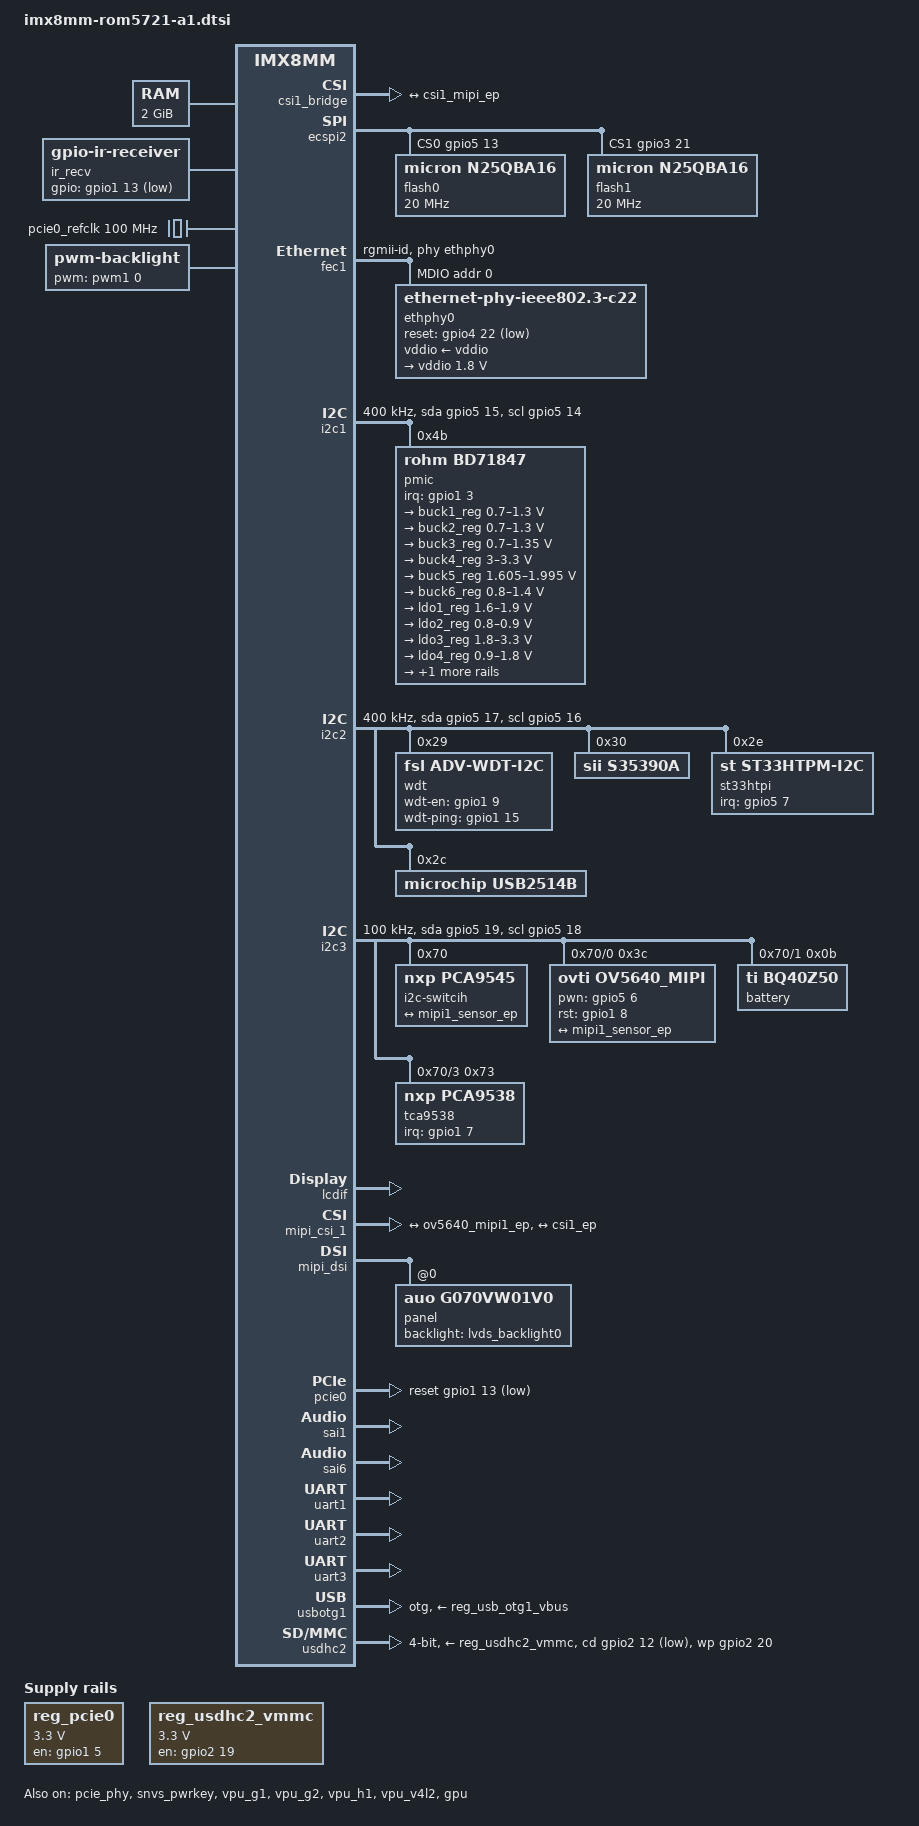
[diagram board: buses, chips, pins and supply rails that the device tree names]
// SPDX-License-Identifier: (GPL-2.0+ OR MIT)
/*
 * Copyright 2020 NXP
 */

/dts-v1/;

#include <dt-bindings/phy/phy-imx8-pcie.h>
#include <dt-bindings/usb/pd.h>
#include "imx8mm.dtsi"

/ {
	chosen {
		stdout-path = &uart2;
	};

	memory@40000000 {
		device_type = "memory";
		reg = <0x0 0x40000000 0 0x80000000>;
	};

	ir_recv: ir-receiver {
		compatible = "gpio-ir-receiver";
		gpios = <&gpio1 13 GPIO_ACTIVE_LOW>;
		pinctrl-names = "default";
		pinctrl-0 = <&pinctrl_ir_recv>;
		linux,autosuspend-period = <125>;
	};

	pcie0_refclk: pcie0-refclk {
		compatible = "fixed-clock";
		#clock-cells = <0>;
		clock-frequency = <100000000>;
	};

	reg_pcie0: regulator-pcie {
		compatible = "regulator-fixed";
		pinctrl-names = "default";
		pinctrl-0 = <&pinctrl_pcie0_reg>;
		regulator-name = "MPCIE_3V3";
		regulator-min-microvolt = <3300000>;
		regulator-max-microvolt = <3300000>;
		gpio = <&gpio1 5 GPIO_ACTIVE_HIGH>;
		enable-active-high;
	};

	reg_usdhc2_vmmc: regulator-usdhc2 {
		compatible = "regulator-fixed";
		pinctrl-names = "default";
		pinctrl-0 = <&pinctrl_reg_usdhc2_vmmc>;
		regulator-name = "VSD_3V3";
		regulator-min-microvolt = <3300000>;
		regulator-max-microvolt = <3300000>;
		gpio = <&gpio2 19 GPIO_ACTIVE_HIGH>;
		off-on-delay-us = <20000>;
		enable-active-high;
	};

	backlight: backlight {
		compatible = "pwm-backlight";
		pwms = <&pwm1 0 5000000 0>;
		brightness-levels = <0 255>;
		num-interpolated-steps = <255>;
		default-brightness-level = <250>;
	};
};

&A53_0 {
	cpu-supply = <&buck2_reg>;
};

&A53_1 {
	cpu-supply = <&buck2_reg>;
};

&A53_2 {
	cpu-supply = <&buck2_reg>;
};

&A53_3 {
	cpu-supply = <&buck2_reg>;
};

&csi1_bridge {
	fsl,mipi-mode;
	status = "okay";
	port {
		csi1_ep: endpoint {
			remote-endpoint = <&csi1_mipi_ep>;
		};
	};
};

&ecspi2 {
        cs-gpios = <&gpio5 13 0>, <&gpio3 21 0>;
        pinctrl-names = "default";
        pinctrl-0 = <&pinctrl_ecspi2>;
        status = "okay";

        flash0: m25p80@0 {
                #address-cells = <1>;
                #size-cells = <0>;
                compatible = "micron,n25qba16";
                spi-max-frequency = <20000000>;
                reg = <0>;
        };
        flash1: m25p80@1 {
                #address-cells = <1>;
                #size-cells = <0>;
                compatible = "micron,n25qba16";
                spi-max-frequency = <20000000>;
                reg = <1>;
        };
};

&fec1 {
	pinctrl-names = "default";
	pinctrl-0 = <&pinctrl_fec1>;
	phy-mode = "rgmii-id";
	phy-handle = <&ethphy0>;
	fsl,magic-packet;
	status = "okay";

	mdio {
		#address-cells = <1>;
		#size-cells = <0>;

		ethphy0: ethernet-phy@0 {
			compatible = "ethernet-phy-ieee802.3-c22";
			reg = <0>;
			reset-gpios = <&gpio4 22 GPIO_ACTIVE_LOW>;
			reset-assert-us = <10000>;
			reset-deassert-us = <80000>;
			realtek,aldps-enable;
			realtek,clkout-disable;
			qca,disable-smarteee;
			vddio-supply = <&vddio>;

			vddio: vddio-regulator {
				regulator-min-microvolt = <1800000>;
				regulator-max-microvolt = <1800000>;
			};
		};
	};
};

&i2c1 {
	clock-frequency = <400000>;
	pinctrl-names = "default", "gpio";
	pinctrl-0 = <&pinctrl_i2c1>;
        pinctrl-1 = <&pinctrl_i2c1_gpio>;
        scl-gpios = <&gpio5 14 GPIO_ACTIVE_HIGH>;
        sda-gpios = <&gpio5 15 GPIO_ACTIVE_HIGH>;
	status = "okay";

	pmic@4b {
		compatible = "rohm,bd71847";
		reg = <0x4b>;
		pinctrl-0 = <&pinctrl_pmic>;
		interrupt-parent = <&gpio1>;
		interrupts = <3 GPIO_ACTIVE_LOW>;
		rohm,reset-snvs-powered;

		regulators {
			buck1_reg: BUCK1 {
				regulator-name = "BUCK1";
				regulator-min-microvolt = <700000>;
				regulator-max-microvolt = <1300000>;
				regulator-boot-on;
				regulator-always-on;
				regulator-ramp-delay = <1250>;
			};

			buck2_reg: BUCK2 {
				regulator-name = "BUCK2";
				regulator-min-microvolt = <700000>;
				regulator-max-microvolt = <1300000>;
				regulator-boot-on;
				regulator-always-on;
				regulator-ramp-delay = <1250>;
				rohm,dvs-run-voltage = <1000000>;
				rohm,dvs-idle-voltage = <900000>;
			};

			buck3_reg: BUCK3 {
				// BUCK5 in datasheet
				regulator-name = "BUCK3";
				regulator-min-microvolt = <700000>;
				regulator-max-microvolt = <1350000>;
				regulator-boot-on;
				regulator-always-on;
			};

			buck4_reg: BUCK4 {
				// BUCK6 in datasheet
				regulator-name = "BUCK4";
				regulator-min-microvolt = <3000000>;
				regulator-max-microvolt = <3300000>;
				regulator-boot-on;
				regulator-always-on;
			};

			buck5_reg: BUCK5 {
				// BUCK7 in datasheet
				regulator-name = "BUCK5";
				regulator-min-microvolt = <1605000>;
				regulator-max-microvolt = <1995000>;
				regulator-boot-on;
				regulator-always-on;
			};

			buck6_reg: BUCK6 {
				// BUCK8 in datasheet
				regulator-name = "BUCK6";
				regulator-min-microvolt = <800000>;
				regulator-max-microvolt = <1400000>;
				regulator-boot-on;
				regulator-always-on;
			};

			ldo1_reg: LDO1 {
				regulator-name = "LDO1";
				regulator-min-microvolt = <1600000>;
				regulator-max-microvolt = <1900000>;
				regulator-boot-on;
				regulator-always-on;
			};

			ldo2_reg: LDO2 {
				regulator-name = "LDO2";
				regulator-min-microvolt = <800000>;
				regulator-max-microvolt = <900000>;
				regulator-boot-on;
				regulator-always-on;
			};

			ldo3_reg: LDO3 {
				regulator-name = "LDO3";
				regulator-min-microvolt = <1800000>;
				regulator-max-microvolt = <3300000>;
				regulator-boot-on;
				regulator-always-on;
			};

			ldo4_reg: LDO4 {
				regulator-name = "LDO4";
				regulator-min-microvolt = <900000>;
				regulator-max-microvolt = <1800000>;
				regulator-boot-on;
				regulator-always-on;
			};

			ldo6_reg: LDO6 {
				regulator-name = "LDO6";
				regulator-min-microvolt = <900000>;
				regulator-max-microvolt = <1800000>;
				regulator-boot-on;
				regulator-always-on;
			};
		};
	};
};

&i2c2 {
	clock-frequency = <400000>;
	pinctrl-names = "default", "gpio";
	pinctrl-0 = <&pinctrl_i2c2>;
        pinctrl-1 = <&pinctrl_i2c2_gpio>;
        scl-gpios = <&gpio5 16 GPIO_ACTIVE_HIGH>;
        sda-gpios = <&gpio5 17 GPIO_ACTIVE_HIGH>;
	status = "okay";

	wdt@29 {
                compatible = "fsl,adv-wdt-i2c";
                pinctrl-names = "default";
                pinctrl-0 = <&pinctrl_wdt_en_1 &pinctrl_wdt_ping_1>;
                status = "okay";
                wdt-en = <&gpio1 9 0>;
                wdt-ping = <&gpio1 15 0>;
                reg = <0x29>;
        };
	s35390a: s35390a@30 {
		 compatible = "sii,s35390a";
		 reg = <0x30>;
		status = "okay";
	};
       st33htpi: st33htpi@2e{
                compatible = "st,st33htpm-i2c";
                reg= <0x2e>;
                pinctrl-names = "default";
                pinctrl-0 = <&pinctrl_tpm>;
                interrupt-parent = <&gpio5>;
                interrupts = <7 IRQ_TYPE_LEVEL_HIGH>;
        };

	usb2514b@2c {
                compatible = "microchip,usb2514b";
                reg = <0x2c>;
        };
};

&i2c3 {
	clock-frequency = <100000>;
	pinctrl-names = "default", "gpio";
	pinctrl-0 = <&pinctrl_i2c3>;
        pinctrl-1 = <&pinctrl_i2c3_gpio>;
        scl-gpios = <&gpio5 18 GPIO_ACTIVE_HIGH>;
        sda-gpios = <&gpio5 19 GPIO_ACTIVE_HIGH>;
	status = "okay";

        i2c-switcih@70 {
                #address-cells = <1>;
                #size-cells = <0>;
                compatible = "nxp,pca9545";
                reg = <0x70>;
		
                i2c@0 {
                        reg = <0>;
                        #address-cells = <1>;
                        #size-cells = <0>;
			ov5640_mipi: ov5640_mipi@3c {
				compatible = "ovti,ov5640_mipi";
				reg = <0x3c>;
				status = "okay";
				pinctrl-names = "default";
				pinctrl-0 = <&pinctrl_csi_clk>, <&pinctrl_csi1_pwn>, <&pinctrl_csi1_rst>;
				clocks = <&clk IMX8MM_CLK_CLKO1>;
				clock-names = "csi_mclk";
				assigned-clocks = <&clk IMX8MM_CLK_CLKO1>;
				assigned-clock-parents = <&clk IMX8MM_CLK_24M>;
				assigned-clock-rates = <24000000>;
				csi_id = <1>;
				pwn-gpios = <&gpio5 6 GPIO_ACTIVE_HIGH>;	/* GPIO1 or CAM1_PWR */
				rst-gpios = <&gpio1 8 GPIO_ACTIVE_HIGH>;	/* GPIO3 or CAM1_RST */
				mclk = <24000000>;
				mclk_source = <0>;
				port {
					ov5640_mipi1_ep: endpoint {
						remote-endpoint = <&mipi1_sensor_ep>;
					};
				};
			};
                };

                i2c@1 {
                        reg = <1>;
                        #address-cells = <1>;
                        #size-cells = <0>;
			battery: bq40z50@b {
				compatible = "ti,bq40z50";
				reg = <0x0b>;
				pinctrl-names = "default";
				pinctrl-0 = <&pinctrl_battery>;
			};

		};
                i2c@2 {
                        reg = <2>;
                        #address-cells = <1>;
                        #size-cells = <0>;
		};
                i2c@3 {
                        reg = <3>;
                        #address-cells = <1>;
                        #size-cells = <0>;
	
			tca9538: pca9538@73 {
				compatible = "nxp,pca9538";
				reg = <0x73>;
				pinctrl-names = "default";
				pinctrl-0 = <&pinctrl_i2c_switch>;
				#gpio-cells = <2>;
				gpio-controller;
				interrupt-controller;
				interrupt-parent = <&gpio1>;
				interrupts = <7 IRQ_TYPE_LEVEL_LOW>;
			};
		};

	};
};

&lcdif {
       status = "okay";
};

&mipi_csi_1 {
	#address-cells = <1>;
	#size-cells = <0>;
	status = "okay";
	port {
		mipi1_sensor_ep: endpoint@1 {
			remote-endpoint = <&ov5640_mipi1_ep>;
			data-lanes = <2>;
			csis-hs-settle = <13>;
			csis-clk-settle = <2>;
			csis-wclk;
		};

		csi1_mipi_ep: endpoint@2 {
			remote-endpoint = <&csi1_ep>;
		};
	};
};

&mipi_dsi {
       status = "okay";
       panel@0 {
                compatible = "auo,g070vw01v0";
                reg = <0>;
		backlight=<&lvds_backlight0>;
                panel-init-sequence = [
                        29 00 06 3C 01 03 00 02 00
                        29 00 06 14 01 02 00 00 00
                        29 00 06 64 01 00 00 00 00
                        29 00 06 68 01 00 00 00 00
                        29 00 06 6C 01 00 00 00 00
                        29 00 06 70 01 00 00 00 00
                        29 00 06 34 01 1F 00 00 00
                        29 00 06 10 02 1F 00 00 00
                        29 00 06 04 01 01 00 00 00
                        29 00 06 04 02 01 00 00 00
                        29 00 06 50 04 20 01 F0 03
                        29 00 06 54 04 06 00 32 00
                        29 00 06 58 04 20 03 C8 00
                        29 00 06 5C 04 04 00 04 00
                        29 00 06 60 04 E0 01 14 00
                        29 00 06 64 04 01 00 00 00
                        29 01 06 A0 04 2D 80 44 00
                        29 00 06 A0 04 2D 80 04 00
                        29 00 06 04 05 04 00 00 00
                        29 00 06 80 04 00 01 02 03
                        29 00 06 84 04 04 07 05 08
                        29 00 06 88 04 09 0A 0E 0F
                        29 00 06 8C 04 0B 0C 0D 10
                        29 00 06 90 04 16 17 11 12
                        29 00 06 94 04 13 14 15 1B
                        29 14 06 98 04 18 19 1A 06
                        29 78 06 9C 04 31 00 00 00
                ];
	};
};

&pcie_phy {
	fsl,refclk-pad-mode = <IMX8_PCIE_REFCLK_PAD_INPUT>;
	fsl,tx-deemph-gen1 = <0x2d>;
	fsl,tx-deemph-gen2 = <0xf>;
	clocks = <&pcie0_refclk>;
	status = "okay";
};

&pcie0{
	pinctrl-names = "default";
	pinctrl-0 = <&pinctrl_pcie0>;
	//disable-gpio = <&tca9538_2 0 GPIO_ACTIVE_LOW>; //W_DISABLE1
	reset-gpio = <&gpio1 13 GPIO_ACTIVE_LOW>;
	clocks = <&clk IMX8MM_CLK_PCIE1_ROOT>,
		 <&clk IMX8MM_CLK_PCIE1_AUX>,
		 <&clk IMX8MM_CLK_PCIE1_PHY>,
		 <&pcie0_refclk>;
	clock-names = "pcie", "pcie_aux", "pcie_phy", "pcie_bus";
	assigned-clocks = <&clk IMX8MM_CLK_PCIE1_AUX>,
			  <&clk IMX8MM_CLK_PCIE1_PHY>,
			  <&clk IMX8MM_CLK_PCIE1_CTRL>;
	assigned-clock-rates = <10000000>, <100000000>, <250000000>;
	assigned-clock-parents = <&clk IMX8MM_SYS_PLL2_50M>,
				 <&clk IMX8MM_SYS_PLL2_100M>,
				 <&clk IMX8MM_SYS_PLL2_250M>;
	ext_osc = <1>;
	status = "okay";
};

&sai1 {
        pinctrl-names = "default";
        pinctrl-0 = <&pinctrl_sai1>;
        assigned-clocks = <&clk IMX8MM_CLK_SAI1>;
        assigned-clock-parents = <&clk IMX8MM_AUDIO_PLL1_OUT>;
        assigned-clock-rates = <0>, <24576000>;
        status = "okay";
};

&sai6 {
	pinctrl-names = "default";
	pinctrl-0 = <&pinctrl_sai6>;
	assigned-clocks = <&clk IMX8MM_CLK_SAI6>;
	assigned-clock-parents = <&clk IMX8MM_AUDIO_PLL1_OUT>;
	assigned-clock-rates = <24576000>;
	status = "okay";
};

&snvs_pwrkey {
	status = "okay";
};

&uart1 {
	pinctrl-names = "default";
	pinctrl-0 = <&pinctrl_uart1>;
	fsl,uart-has-rtscts;
	status = "okay";
};

&uart2 { /* A53 console */
	pinctrl-names = "default";
	pinctrl-0 = <&pinctrl_uart2>;
	status = "okay";
};

&uart3 {
	pinctrl-names = "default";
	pinctrl-0 = <&pinctrl_uart3>;
	fsl,uart-has-rtscts;
	status = "okay";
};

&usbotg1 {
	pinctrl-names = "default";
        pinctrl-0 = <&pinctrl_usbotg>;
	dr_mode = "otg";
	extcon = <0>;
        vbus-supply = <&reg_usb_otg1_vbus>;
	samsung,picophy-pre-emp-curr-control = <3>;
	samsung,picophy-dc-vol-level-adjust = <7>;
	status = "okay";
};

&usdhc2 {
	assigned-clocks = <&clk IMX8MM_CLK_USDHC2>;
	assigned-clock-rates = <200000000>;
	pinctrl-names = "default", "state_100mhz", "state_200mhz";
	pinctrl-0 = <&pinctrl_usdhc2>, <&pinctrl_usdhc2_gpio>;
	pinctrl-1 = <&pinctrl_usdhc2_100mhz>, <&pinctrl_usdhc2_gpio>;
	pinctrl-2 = <&pinctrl_usdhc2_200mhz>, <&pinctrl_usdhc2_gpio>;
	cd-gpios = <&gpio2 12 GPIO_ACTIVE_LOW>;
	wp-gpios = <&gpio2 20 GPIO_ACTIVE_HIGH>;
	bus-width = <4>;
	vmmc-supply = <&reg_usdhc2_vmmc>;
	status = "okay";
};

&vpu_g1 {
	status = "okay";
};

&vpu_g2 {
	status = "okay";
};

&vpu_h1 {
	status = "okay";
};

&vpu_v4l2 {
	status = "okay";
};

&wdog1 {
	pinctrl-names = "default";
	pinctrl-0 = <&pinctrl_wdog>;
	fsl,ext-reset-output;
	status = "disabled";
};

&pwm1 {
	pinctrl-names = "default";
	pinctrl-0 = <&pinctrl_backlight>;
};

&gpu {
	status = "okay";
};

&iomuxc {
	pinctrl_ir_recv: ir-recv {
		fsl,pins = <
			MX8MM_IOMUXC_GPIO1_IO13_GPIO1_IO13		0x4f
		>;
	};

	pinctrl_csi_clk: csi_clk_grp {
		fsl,pins = <
			MX8MM_IOMUXC_GPIO1_IO14_CCMSRCGPCMIX_CLKO1		0x19
		>;
	};

	pinctrl_csi1_pwn: csi1_pwn_grp {
		fsl,pins = <
			MX8MM_IOMUXC_ECSPI1_SCLK_GPIO5_IO6		0x19	/* CAM1_PWR */
		>;
	};

	pinctrl_ecspi2: ecspi2grp {
		fsl,pins = <
			MX8MM_IOMUXC_ECSPI2_SCLK_ECSPI2_SCLK		0x82
			MX8MM_IOMUXC_ECSPI2_MOSI_ECSPI2_MOSI		0x82
			MX8MM_IOMUXC_ECSPI2_MISO_ECSPI2_MISO		0x82
		>;
	};

	pinctrl_ecspi2_cs: ecspi2cs {
		fsl,pins = <
			MX8MM_IOMUXC_ECSPI2_SS0_GPIO5_IO13		0x40000
		>;
	};

	pinctrl_fec1: fec1grp {
		fsl,pins = <
			MX8MM_IOMUXC_ENET_MDC_ENET1_MDC			0x3
			MX8MM_IOMUXC_ENET_MDIO_ENET1_MDIO		0x3
			MX8MM_IOMUXC_ENET_TD3_ENET1_RGMII_TD3		0x1f
			MX8MM_IOMUXC_ENET_TD2_ENET1_RGMII_TD2		0x1f
			MX8MM_IOMUXC_ENET_TD1_ENET1_RGMII_TD1		0x1f
			MX8MM_IOMUXC_ENET_TD0_ENET1_RGMII_TD0		0x1f
			MX8MM_IOMUXC_ENET_RD3_ENET1_RGMII_RD3		0x91
			MX8MM_IOMUXC_ENET_RD2_ENET1_RGMII_RD2		0x91
			MX8MM_IOMUXC_ENET_RD1_ENET1_RGMII_RD1		0x91
			MX8MM_IOMUXC_ENET_RD0_ENET1_RGMII_RD0		0x91
			MX8MM_IOMUXC_ENET_TXC_ENET1_RGMII_TXC		0x1f
			MX8MM_IOMUXC_ENET_RXC_ENET1_RGMII_RXC		0x91
			MX8MM_IOMUXC_ENET_RX_CTL_ENET1_RGMII_RX_CTL	0x91
			MX8MM_IOMUXC_ENET_TX_CTL_ENET1_RGMII_TX_CTL	0x1f
			MX8MM_IOMUXC_SAI2_RXC_GPIO4_IO22		0x19	/* RGMII0_INT# */
		>;
	};

	pinctrl_i2c1: i2c1grp {
		fsl,pins = <
			MX8MM_IOMUXC_I2C1_SCL_I2C1_SCL			0x400001c3
			MX8MM_IOMUXC_I2C1_SDA_I2C1_SDA			0x400001c3
		>;
	};

	pinctrl_i2c2: i2c2grp {
		fsl,pins = <
			MX8MM_IOMUXC_I2C2_SCL_I2C2_SCL			0x400001c3
			MX8MM_IOMUXC_I2C2_SDA_I2C2_SDA			0x400001c3
		>;
	};

	pinctrl_i2c3: i2c3grp {
		fsl,pins = <
			MX8MM_IOMUXC_I2C3_SCL_I2C3_SCL			0x400001c3
			MX8MM_IOMUXC_I2C3_SDA_I2C3_SDA			0x400001c3
		>;
	};

	pinctrl_mipi_dsi_en: mipi_dsi_en {
		fsl,pins = <
			MX8MM_IOMUXC_GPIO1_IO08_GPIO1_IO8		0x16
		>;
	};

	pinctrl_pcie0: pcie0grp {
		fsl,pins = <
			MX8MM_IOMUXC_SAI5_RXFS_GPIO3_IO19		0x41	/* PCIE_WAKE */
			MX8MM_IOMUXC_GPIO1_IO13_GPIO1_IO13		0x41	/* PCIE_RST */
		>;
	};

	pinctrl_pcie0_reg: pcie0reggrp {
		fsl,pins = <
			MX8MM_IOMUXC_GPIO1_IO05_GPIO1_IO5       0x41
		>;
	};

	pinctrl_pmic: pmicirqgrp {
		fsl,pins = <
			MX8MM_IOMUXC_GPIO1_IO03_GPIO1_IO3		0x141
		>;
	};

	pinctrl_reg_usdhc2_vmmc: regusdhc2vmmcgrp {
		fsl,pins = <
			MX8MM_IOMUXC_SD2_RESET_B_GPIO2_IO19	0x41	/* SD2_PWR_EN_1V8 */
		>;
	};

	pinctrl_sai1: sai1grp {
		fsl,pins = <
			MX8MM_IOMUXC_SAI1_TXFS_SAI1_TX_SYNC	0xd6	/* SAI1_LRCK */
			MX8MM_IOMUXC_SAI1_TXC_SAI1_TX_BCLK	0xd6	/* SAI1_CK */
			MX8MM_IOMUXC_SAI1_TXD0_SAI1_TX_DATA0	0xd6	/* SAI1_SDOUT */
			MX8MM_IOMUXC_SAI1_RXD0_SAI1_RX_DATA0	0xd6	/* SAI1_SDIN */
		>;
	};

	pinctrl_uart1: uart1grp {
		fsl,pins = <
			MX8MM_IOMUXC_SAI2_RXFS_UART1_DCE_TX     0x140
			MX8MM_IOMUXC_SAI2_RXC_UART1_DCE_RX     0x140
			MX8MM_IOMUXC_SAI2_RXD0_UART1_DCE_RTS_B  0x140
			MX8MM_IOMUXC_SAI2_TXFS_UART1_DCE_CTS_B  0x140
		>;
	};

	pinctrl_uart2: uart2grp {
		fsl,pins = <
			MX8MM_IOMUXC_SAI3_TXC_UART2_DCE_TX		0x140
			MX8MM_IOMUXC_SAI3_TXFS_UART2_DCE_RX		0x140
		>;
	};

	pinctrl_uart3: uart3grp {
		fsl,pins = <
			MX8MM_IOMUXC_UART3_RXD_UART3_DCE_RX		0x140
			MX8MM_IOMUXC_UART3_TXD_UART3_DCE_TX		0x140
			MX8MM_IOMUXC_ECSPI1_SS0_UART3_DCE_RTS_B		0x140
			MX8MM_IOMUXC_ECSPI1_MISO_UART3_DCE_CTS_B	0x140
		>;
	};

	pinctrl_usdhc1_gpio: usdhc1grpgpio {
		fsl,pins = <
			MX8MM_IOMUXC_SD1_RESET_B_GPIO2_IO10	0x41	/* WL_REG_ON */
		>;
	};

	pinctrl_usdhc1: usdhc1grp {
		fsl,pins = <
			MX8MM_IOMUXC_SD1_CLK_USDHC1_CLK		0x190
			MX8MM_IOMUXC_SD1_CMD_USDHC1_CMD		0x1d0
			MX8MM_IOMUXC_SD1_DATA0_USDHC1_DATA0	0x1d0
			MX8MM_IOMUXC_SD1_DATA1_USDHC1_DATA1	0x1d0
			MX8MM_IOMUXC_SD1_DATA2_USDHC1_DATA2	0x1d0
			MX8MM_IOMUXC_SD1_DATA3_USDHC1_DATA3	0x1d0
		>;
	};

	pinctrl_usdhc1_100mhz: usdhc1grp100mhz {
		fsl,pins = <
			MX8MM_IOMUXC_SD1_CLK_USDHC1_CLK		0x194
			MX8MM_IOMUXC_SD1_CMD_USDHC1_CMD		0x1d4
			MX8MM_IOMUXC_SD1_DATA0_USDHC1_DATA0	0x1d4
			MX8MM_IOMUXC_SD1_DATA1_USDHC1_DATA1	0x1d4
			MX8MM_IOMUXC_SD1_DATA2_USDHC1_DATA2	0x1d4
			MX8MM_IOMUXC_SD1_DATA3_USDHC1_DATA3	0x1d4
		>;
	};

	pinctrl_usdhc1_200mhz: usdhc1grp200mhz {
		fsl,pins = <
			MX8MM_IOMUXC_SD1_CLK_USDHC1_CLK		0x196
			MX8MM_IOMUXC_SD1_CMD_USDHC1_CMD		0x1d6
			MX8MM_IOMUXC_SD1_DATA0_USDHC1_DATA0	0x1d6
			MX8MM_IOMUXC_SD1_DATA1_USDHC1_DATA1	0x1d6
			MX8MM_IOMUXC_SD1_DATA2_USDHC1_DATA2	0x1d6
			MX8MM_IOMUXC_SD1_DATA3_USDHC1_DATA3	0x1d6
		>;
	};

	pinctrl_usdhc2_gpio: usdhc2grpgpiogrp {
		fsl,pins = <
			MX8MM_IOMUXC_SD2_CD_B_GPIO2_IO12	0x159	/* SD2_CD */
			MX8MM_IOMUXC_SD2_WP_GPIO2_IO20		0x159	/* SD2_WP */
		>;
	};

	pinctrl_usdhc2: usdhc2grp {
		fsl,pins = <
			MX8MM_IOMUXC_SD2_CLK_USDHC2_CLK		0x190
			MX8MM_IOMUXC_SD2_CMD_USDHC2_CMD		0x1d0
			MX8MM_IOMUXC_SD2_DATA0_USDHC2_DATA0	0x1d0
			MX8MM_IOMUXC_SD2_DATA1_USDHC2_DATA1	0x1d0
			MX8MM_IOMUXC_SD2_DATA2_USDHC2_DATA2	0x1d0
			MX8MM_IOMUXC_SD2_DATA3_USDHC2_DATA3	0x1d0
			MX8MM_IOMUXC_GPIO1_IO04_USDHC2_VSELECT	0x1d0
		>;
	};

	pinctrl_usdhc2_100mhz: usdhc2-100mhzgrp {
		fsl,pins = <
			MX8MM_IOMUXC_SD2_CLK_USDHC2_CLK		0x194
			MX8MM_IOMUXC_SD2_CMD_USDHC2_CMD		0x1d4
			MX8MM_IOMUXC_SD2_DATA0_USDHC2_DATA0	0x1d4
			MX8MM_IOMUXC_SD2_DATA1_USDHC2_DATA1	0x1d4
			MX8MM_IOMUXC_SD2_DATA2_USDHC2_DATA2	0x1d4
			MX8MM_IOMUXC_SD2_DATA3_USDHC2_DATA3	0x1d4
			MX8MM_IOMUXC_GPIO1_IO04_USDHC2_VSELECT	0x1d0
		>;
	};

	pinctrl_usdhc2_200mhz: usdhc2-200mhzgrp {
		fsl,pins = <
			MX8MM_IOMUXC_SD2_CLK_USDHC2_CLK		0x196
			MX8MM_IOMUXC_SD2_CMD_USDHC2_CMD		0x1d6
			MX8MM_IOMUXC_SD2_DATA0_USDHC2_DATA0	0x1d6
			MX8MM_IOMUXC_SD2_DATA1_USDHC2_DATA1	0x1d6
			MX8MM_IOMUXC_SD2_DATA2_USDHC2_DATA2	0x1d6
			MX8MM_IOMUXC_SD2_DATA3_USDHC2_DATA3	0x1d6
			MX8MM_IOMUXC_GPIO1_IO04_USDHC2_VSELECT	0x1d0
		>;
	};

	pinctrl_wdog: wdoggrp {
		fsl,pins = <
			MX8MM_IOMUXC_GPIO1_IO02_WDOG1_WDOG_B	0x166
		>;
	};

	pinctrl_backlight: backlightgrp {
		fsl,pins = <
			MX8MM_IOMUXC_GPIO1_IO02_WDOG1_WDOG_B		0xc6	/* PMIC_WDOG */
		>;
	};
};
